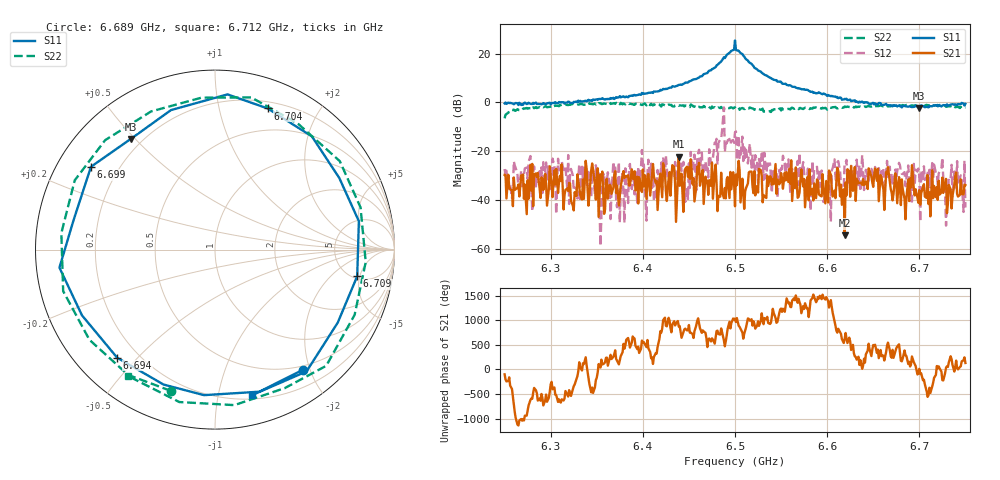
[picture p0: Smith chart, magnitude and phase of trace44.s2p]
# Hz S RI R 50
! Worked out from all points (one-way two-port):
!   401 points, 6.25 GHz to 6.75 GHz, reference 50 ohm
!   highest |S21| = -22.21 dB at 6.439 GHz (marker M1); lowest = -54.3 dB at 6.619 GHz (marker M2)
!   lowest |S11| = -2.2 dB at 6.7 GHz (marker M3), VSWR 7.88, Z = 7.87 + j24.3 ohm
!   |S11| at or under -10 dB: nowhere
!   |S22| runs from -6.5 to 0.0 dB; largest |S21 - S12| = 0.78
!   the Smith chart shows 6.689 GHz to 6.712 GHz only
!   S11 on the Smith chart (normalised r, x): 6.689 GHz: 0.44, -1.89; 6.694 GHz: 0.12, -0.44; 6.699 GHz: 0.10, +0.30; 6.704 GHz: 0.26, +1.41; 6.709 GHz: 5.38, -4.55; 6.712 GHz: 0.23, -1.26
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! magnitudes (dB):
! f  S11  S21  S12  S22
! 6.25 GHz  -0.4  -29.6  -27.2  -6.5
! 6.334 GHz  0.4  -39.7  -26.3  -0.7
! 6.356 GHz  1.8  -28.3  -31.1  -0.6
! 6.418 GHz  4.7  -31.4  -33.5  -0.9
! 6.439 GHz  7.2  -22.2  -23.9  -1.3
! 6.449 GHz  8.2  -30.4  -39.5  -1.5
! 6.485 GHz  16.8  -28.7  -14.9  -1.8
! 6.5 GHz  25.4  -42.4  -12.2  -2.0
! 6.584 GHz  4.4  -35.3  -24.0  -2.5
! 6.619 GHz  1.5  -54.3  -24.5  -1.6
! 6.625 GHz  1.2  -38.5  -33.8  -1.9
! 6.668 GHz  -1.2  -32.3  -26.2  -1.6
! 6.689 GHz  -1.6  -40.3  -31.2  -1.7
! 6.694 GHz  -1.8  -35.0  -25.1  -1.3
! 6.699 GHz  -1.6  -41.0  -27.0  -1.4
! 6.7 GHz  -2.2  -35.9  -30.0  -1.2
! 6.704 GHz  -1.5  -34.5  -32.4  -1.5
! 6.709 GHz  -1.9  -29.7  -27.9  -1.3
! 6.712 GHz  -1.5  -46.6  -34.7  -1.4
! 6.729 GHz  -1.3  -31.2  -50.4  -1.8
! 6.744 GHz  -0.8  -37.8  -30.9  -2.3
! 6.75 GHz  -0.6  -33.8  -42.9  -2.0
